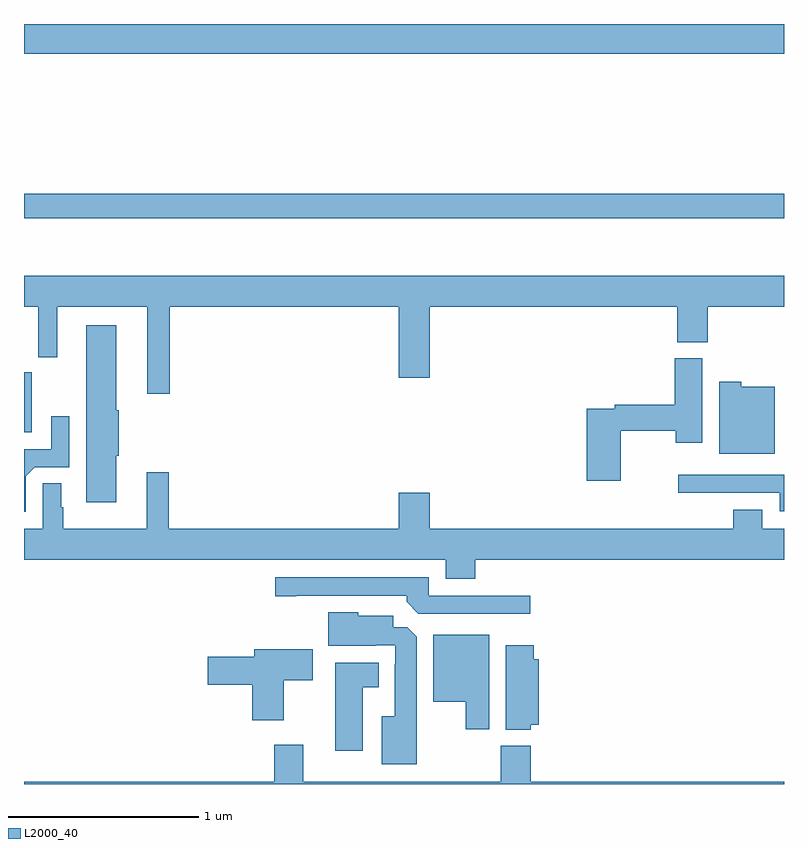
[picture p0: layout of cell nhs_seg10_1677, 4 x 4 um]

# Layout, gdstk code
import gdstk
lib = gdstk.Library(unit=1e-6, precision=1e-09)
def R(c, l, rs):  # rectangles x0, y0, x1, y1
    for r in rs: c.add(gdstk.rectangle(r[:2], r[2:], *l))
def P(c, l, *ps):  # polygons
    for p in ps: c.add(gdstk.Polygon(p, *l))
L2000_40 = (2000, 40)

nhs_seg10_1677 = lib.new_cell('nhs_seg10_1677')
R(nhs_seg10_1677, L2000_40, [(199,1270.352,199.042,1270.666), (199,1271.478,203,1271.606), (199,1272.344,203,1272.5)])
P(nhs_seg10_1677, L2000_40, [(199.766,1271.012),(200.972,1271.012),(200.972,1270.638),(201.136,1270.638),(201.136,1271.012),(202.439,1271.012),(202.439,1270.825),(202.599,1270.825),(202.599,1271.012),(203,1271.012),(203,1271.176),(199,1271.176),(199,1271.012),(199.076,1271.012),(199.076,1270.746),(199.174,1270.746),(199.174,1271.012),(199.649,1271.012),(199.649,1270.554),(199.766,1270.554)],
  [(199.486,1270.228),(199.499,1270.228),(199.499,1270.466),(199.486,1270.466),(199.486,1270.915),(199.328,1270.915),(199.328,1269.984),(199.486,1269.984)],
  [(202.14,1270.36),(202.429,1270.36),(202.429,1270.296),(202.57,1270.296),(202.57,1270.74),(202.424,1270.74),(202.424,1270.496),(202.108,1270.496),(202.108,1270.476),(201.962,1270.476),(201.962,1270.095),(202.14,1270.095)],
  [(202.951,1270.591),(202.776,1270.591),(202.776,1270.618),(202.658,1270.618),(202.658,1270.238),(202.951,1270.238)],
  [(199.008,1270.119),(199.056,1270.167),(199.239,1270.167),(199.239,1270.435),(199.143,1270.435),(199.143,1270.263),(199.002,1270.263),(199,1270.261),(199,1269.933),(199.008,1269.933)],
  [(200.972,1270.033),(200.972,1269.844),(199.763,1269.844),(199.763,1270.141),(199.646,1270.141),(199.646,1269.844),(199.207,1269.844),(199.207,1269.957),(199.195,1269.957),(199.195,1270.082),(199.098,1270.082),(199.098,1269.844),(199,1269.844),(199,1269.68),(201.221,1269.68),(201.221,1269.581),(201.374,1269.581),(201.374,1269.68),(203,1269.68),(203,1269.844),(202.885,1269.844),(202.885,1269.943),(202.733,1269.943),(202.733,1269.844),(201.136,1269.844),(201.136,1270.033)],
  [(203,1270.128),(202.443,1270.128),(202.443,1270.032),(202.977,1270.032),(202.977,1269.936),(203,1269.936)],
  [(201.664,1269.492),(201.129,1269.492),(201.129,1269.588),(200.322,1269.588),(200.322,1269.487),(200.434,1269.487),(200.434,1269.492),(201.014,1269.492),(201.014,1269.458),(201.075,1269.396),(201.664,1269.396)],
  [(201.067,1269.275),(201.018,1269.324),(200.944,1269.324),(200.944,1269.385),(200.76,1269.385),(200.76,1269.403),(200.6,1269.403),(200.6,1269.227),(200.855,1269.227),(200.855,1269.231),(200.955,1269.231),(200.955,1269.131),(200.951,1269.131),(200.951,1268.857),(200.882,1268.857),(200.882,1268.603),(201.067,1268.603)],
  [(201.448,1269.286),(201.155,1269.286),(201.155,1268.933),(201.326,1268.933),(201.326,1268.787),(201.448,1268.787)],
  [(201.666,1268.813),(201.709,1268.813),(201.709,1269.157),(201.683,1269.157),(201.683,1269.229),(201.536,1269.229),(201.536,1268.786),(201.666,1268.786)],
  [(200.368,1269.046),(200.521,1269.046),(200.521,1269.208),(200.213,1269.208),(200.213,1269.17),(199.968,1269.17),(199.968,1269.023),(200.201,1269.023),(200.201,1268.835),(200.368,1268.835)],
  [(200.782,1269.008),(200.866,1269.008),(200.866,1269.139),(200.639,1269.139),(200.639,1268.676),(200.782,1268.676)],
  [(203,1268.512),(201.668,1268.512),(201.668,1268.701),(201.508,1268.701),(201.508,1268.512),(200.47,1268.512),(200.47,1268.707),(200.318,1268.707),(200.318,1268.512),(199,1268.512),(199,1268.5),(203,1268.5)])

lib.write_gds('nhs_seg10_1677.gds')
